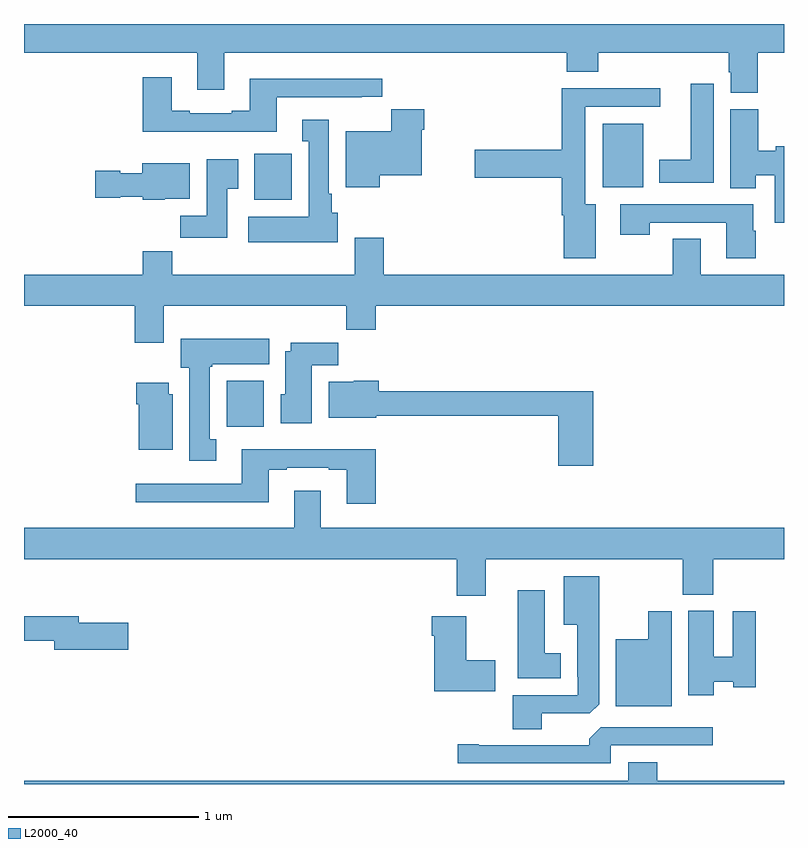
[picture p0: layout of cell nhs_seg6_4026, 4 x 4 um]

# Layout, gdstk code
import gdstk
lib = gdstk.Library(unit=1e-6, precision=1e-09)
def R(c, l, rs):  # rectangles x0, y0, x1, y1
    for r in rs: c.add(gdstk.rectangle(r[:2], r[2:], *l))
def P(c, l, *ps):  # polygons
    for p in ps: c.add(gdstk.Polygon(p, *l))
L2000_40 = (2000, 40)

nhs_seg6_4026 = lib.new_cell('nhs_seg6_4026')
R(nhs_seg6_4026, L2000_40, [(350.066,933.38,350.263,933.622), (350.213,934.574,350.41,934.816), (352.046,934.64,352.258,934.975)])
P(nhs_seg6_4026, L2000_40, [(349,935.348),(349.913,935.348),(349.913,935.154),(350.053,935.154),(350.053,935.348),(351.857,935.348),(351.857,935.249),(352.022,935.249),(352.022,935.348),(352.709,935.348),(352.709,935.247),(352.721,935.247),(352.721,935.137),(352.862,935.137),(352.862,935.348),(353,935.348),(353,935.5),(349,935.5)],
  [(350.329,935.115),(350.777,935.115),(350.777,935.117),(350.886,935.117),(350.886,935.212),(350.189,935.212),(350.189,935.044),(350.093,935.044),(350.093,935.031),(349.873,935.031),(349.873,935.044),(349.777,935.044),(349.777,935.221),(349.625,935.221),(349.625,934.934),(350.329,934.934)],
  [(352.63,935.185),(352.508,935.185),(352.508,934.786),(352.343,934.786),(352.343,934.664),(352.63,934.664)],
  [(352.009,934.552),(351.955,934.552),(351.955,935.064),(352.348,935.064),(352.348,935.162),(351.83,935.162),(351.83,934.838),(351.372,934.838),(351.372,934.691),(351.83,934.691),(351.83,934.493),(351.842,934.493),(351.842,934.266),(352.009,934.266)],
  [(353,934.856),(352.956,934.856),(352.956,934.833),(352.865,934.833),(352.865,935.052),(352.718,935.052),(352.718,934.636),(352.852,934.636),(352.852,934.703),(352.952,934.703),(352.952,934.455),(353,934.455)],
  [(350.872,934.703),(351.094,934.703),(351.094,934.943),(351.107,934.943),(351.107,935.052),(350.933,935.052),(350.933,934.936),(350.693,934.936),(350.693,934.64),(350.872,934.64)],
  [(350.65,934.506),(350.62,934.506),(350.62,934.606),(350.605,934.606),(350.605,934.996),(350.465,934.996),(350.465,934.883),(350.498,934.883),(350.498,934.486),(350.181,934.486),(350.181,934.352),(350.65,934.352)],
  [(350.071,934.633),(350.128,934.633),(350.128,934.789),(349.961,934.789),(349.961,934.492),(349.822,934.492),(349.822,934.374),(350.071,934.374)],
  [(349.74,934.58),(349.873,934.58),(349.873,934.768),(349.622,934.768),(349.622,934.714),(349.506,934.714),(349.506,934.727),(349.374,934.727),(349.374,934.585),(349.506,934.585),(349.506,934.592),(349.626,934.592),(349.626,934.574),(349.74,934.574)],
  [(352.85,934.413),(352.837,934.413),(352.837,934.551),(352.137,934.551),(352.137,934.392),(352.293,934.392),(352.293,934.455),(352.697,934.455),(352.697,934.266),(352.85,934.266)],
  [(353,934.18),(352.561,934.18),(352.561,934.37),(352.414,934.37),(352.414,934.18),(350.894,934.18),(350.894,934.375),(350.741,934.375),(350.741,934.18),(349.781,934.18),(349.781,934.304),(349.625,934.304),(349.625,934.18),(349,934.18),(349,934.016),(349.583,934.016),(349.583,933.822),(349.735,933.822),(349.735,934.016),(350.695,934.016),(350.695,933.892),(350.852,933.892),(350.852,934.016),(353,934.016)],
  [(350.011,933.314),(349.978,933.314),(349.978,933.697),(349.992,933.697),(349.992,933.71),(350.29,933.71),(350.29,933.844),(349.826,933.844),(349.826,933.69),(349.871,933.69),(349.871,933.201),(350.011,933.201)],
  [(350.515,933.704),(350.654,933.704),(350.654,933.823),(350.405,933.823),(350.405,933.778),(350.375,933.778),(350.375,933.552),(350.351,933.552),(350.351,933.398),(350.515,933.398)],
  [(351.995,933.568),(350.867,933.568),(350.867,933.622),(350.736,933.622),(350.736,933.616),(350.603,933.616),(350.603,933.428),(350.854,933.428),(350.854,933.439),(351.812,933.439),(351.812,933.174),(351.995,933.174)],
  [(349.783,933.552),(349.762,933.552),(349.762,933.613),(349.592,933.613),(349.592,933.5),(349.604,933.5),(349.604,933.26),(349.783,933.26)],
  [(350.852,933.262),(350.147,933.262),(350.147,933.081),(349.587,933.081),(349.587,932.984),(350.287,932.984),(350.287,933.153),(350.383,933.153),(350.383,933.165),(350.603,933.165),(350.603,933.153),(350.699,933.153),(350.699,932.976),(350.852,932.976)],
  [(351.43,932.684),(352.468,932.684),(352.468,932.497),(352.628,932.497),(352.628,932.684),(353,932.684),(353,932.848),(350.563,932.848),(350.563,933.043),(350.423,933.043),(350.423,932.848),(349,932.848),(349,932.684),(351.278,932.684),(351.278,932.49),(351.43,932.49)],
  [(351.724,931.872),(351.978,931.872),(352.027,931.921),(352.027,932.593),(351.842,932.593),(351.842,932.339),(351.911,932.339),(351.911,932.065),(351.915,932.065),(351.915,931.968),(351.572,931.968),(351.572,931.789),(351.724,931.789)],
  [(351.826,932.188),(351.742,932.188),(351.742,932.521),(351.599,932.521),(351.599,932.057),(351.826,932.057)],
  [(352.63,932.039),(352.734,932.039),(352.734,932.009),(352.852,932.009),(352.852,932.41),(352.73,932.41),(352.73,932.169),(352.63,932.169),(352.63,932.412),(352.496,932.412),(352.496,931.968),(352.63,931.968)],
  [(352.408,932.41),(352.286,932.41),(352.286,932.263),(352.115,932.263),(352.115,931.91),(352.408,931.91)],
  [(349.549,932.349),(349.288,932.349),(349.288,932.383),(349,932.383),(349,932.254),(349.16,932.254),(349.16,932.207),(349.549,932.207)],
  [(351.481,932.151),(351.328,932.151),(351.328,932.383),(351.146,932.383),(351.146,932.279),(351.158,932.279),(351.158,931.988),(351.481,931.988)],
  [(352.089,931.704),(352.624,931.704),(352.624,931.8),(352.035,931.8),(351.974,931.738),(351.974,931.704),(351.394,931.704),(351.394,931.709),(351.282,931.709),(351.282,931.608),(352.089,931.608)],
  [(353,931.516),(352.334,931.516),(352.334,931.615),(352.181,931.615),(352.181,931.516),(349,931.516),(349,931.5),(353,931.5)])

lib.write_gds('nhs_seg6_4026.gds')
